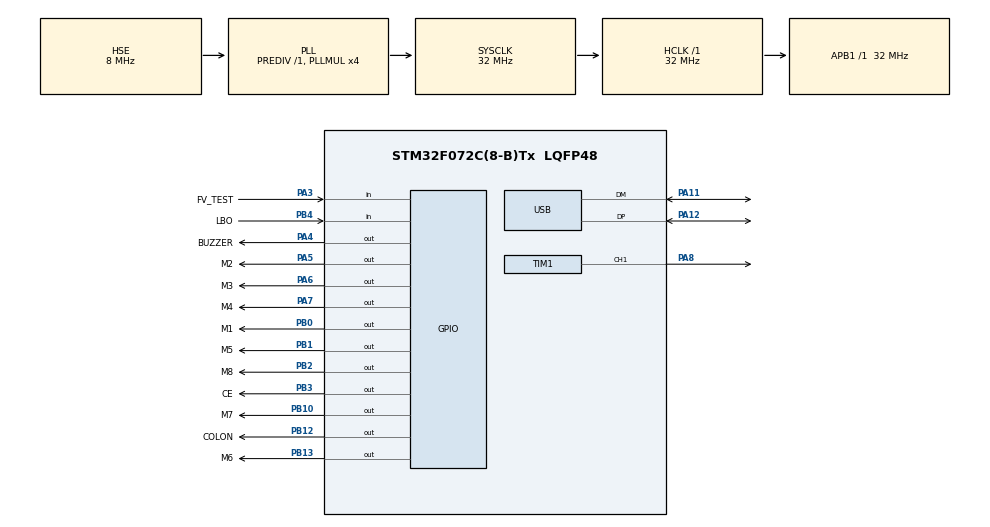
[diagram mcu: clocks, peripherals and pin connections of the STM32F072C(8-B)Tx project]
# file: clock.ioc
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Mcu.Family=STM32F0
Mcu.Name=STM32F072C(8-B)Tx
Mcu.Package=LQFP48
NVIC.RTC_IRQn=true\:0\:0\:false\:false\:true\:true\:true\:true
PA11.Mode=Device
PA11.Signal=USB_DM
PA12.Mode=Device
PA12.Signal=USB_DP
PA3.GPIO_Label=FV_TEST
PA3.Signal=GPIO_Input
PA4.GPIO_Label=BUZZER
PA4.Signal=GPIO_Output
PA5.GPIO_Label=M2
PA5.Signal=GPIO_Output
PA6.GPIO_Label=M3
PA6.Signal=GPIO_Output
PA7.GPIO_Label=M4
PA7.Signal=GPIO_Output
PA8.Signal=S_TIM1_CH1
PB0.GPIO_Label=M1
PB0.Signal=GPIO_Output
PB1.GPIO_Label=M5
PB1.Signal=GPIO_Output
PB10.GPIO_Label=M7
PB10.Signal=GPIO_Output
PB12.GPIO_Label=COLON
PB12.Signal=GPIO_Output
PB13.GPIO_Label=M6
PB13.Signal=GPIO_Output
PB2.GPIO_Label=M8
PB2.Signal=GPIO_Output
PB3.GPIO_Label=CE
PB3.Signal=GPIO_Output
PB4.GPIO_Label=LBO
PB4.Signal=GPIO_Input
PF0-OSC_IN.Mode=HSE-External-Oscillator
PF0-OSC_IN.Signal=RCC_OSC_IN
PF1-OSC_OUT.Mode=HSE-External-Oscillator
PF1-OSC_OUT.Signal=RCC_OSC_OUT
ProjectManager.HeapSize=0x200
ProjectManager.StackSize=0x400
ProjectManager.TargetToolchain=STM32CubeIDE
RCC.AHBFreq_Value=32000000
RCC.APB1Freq_Value=32000000
RCC.APB1TimFreq_Value=32000000
RCC.HCLKFreq_Value=32000000
RCC.PLLMUL=RCC_PLL_MUL4
RCC.PLLSourceVirtual=RCC_PLLSOURCE_HSE
RCC.RTCClockSelection=RCC_RTCCLKSOURCE_HSE_DIV32
RCC.SYSCLKFreq_VALUE=32000000
RCC.SYSCLKSource=RCC_SYSCLKSOURCE_PLLCLK
RCC.USBFreq_Value=48000000
RTC.Alarm-Alarm\ A=RTC_ALARM_A
RTC.AlarmDateWeekDaySel-Alarm\ A=RTC_ALARMDATEWEEKDAYSEL_WEEKDAY
RTC.Format=RTC_FORMAT_BIN
RTC.SynchPrediv=1952
SH.S_TIM1_CH1.0=TIM1_CH1,PWM Generation1 CH1
TIM1.Channel-PWM\ Generation1\ CH1=TIM_CHANNEL_1
TIM2.Prescaler=31
VP_RTC_VS_RTC_Activate.Mode=RTC_Enabled
VP_RTC_VS_RTC_Alarm_A_Intern.Mode=Alarm A
VP_RTC_VS_RTC_Calendar.Mode=RTC_Calendar
VP_TIM1_VS_ClockSourceINT.Mode=Internal
VP_TIM2_VS_ClockSourceINT.Mode=Internal
board=custom

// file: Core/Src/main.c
/* USER CODE BEGIN Header */
/**
  ******************************************************************************
  * @file           : main.c
  * @brief          : Main program body
  ******************************************************************************
  * @attention
  *
  * Copyright (c) 2025 STMicroelectronics.
  * All rights reserved.
  *
  * This software is licensed under terms that can be found in the LICENSE file
  * in the root directory of this software component.
  * If no LICENSE file comes with this software, it is provided AS-IS.
  *
  ******************************************************************************
  */
/* USER CODE END Header */
#include "main.h"

RTC_HandleTypeDef hrtc;

TIM_HandleTypeDef htim1;
TIM_HandleTypeDef htim2;

PCD_HandleTypeDef hpcd_USB_FS;

/* USER CODE BEGIN PV */

GPIO_TypeDef *pin_ports[] = {M1_GPIO_Port, M2_GPIO_Port, M3_GPIO_Port, M4_GPIO_Port, M5_GPIO_Port, M6_GPIO_Port, M7_GPIO_Port, M8_GPIO_Port};
const int pin_numbers[] = {0,5,6,7,1,13,10,2};
//int numbers[][8] = {
//		{0,1,2,3,4,5}, 		//0
//		{2,3},				//1
//		{1,2,4,5,6},		//2
//		{1,2,3,4,6},		//3
//		{0,2,3,6},			//4
//		{0,1,3,4,6},		//5
//		{0,1,3,4,5,6},		//6
//		{1,2,3},			//7
//		{0,1,2,3,4,5,6},	//8
//		{0,1,2,3,6}			//9
//};

const uint8_t numbers[10] = {
		0b01111110,
		0b00011000,
		0b00110111,
		0b00111101,
		0b01011001,
		0b01101101,
		0b01101111,
		0b00111000,
		0b01111111,
		0b01111001
};

const uint8_t time_out_val = 60; //seconds

enum menu_enum {
	TIME,
	SET_TIME,
	SLEEP,
	SET_ALARM,
	BUZZ
};

enum menu_enum menu = TIME;

int button_pressed = 0;
uint8_t time[4];

int selected_digit = 0;

RTC_TimeTypeDef currTime = {0};
RTC_DateTypeDef currDate = {0};

int time_out = 0;

/* USER CODE END PV */

void SystemClock_Config(void);
static void MX_GPIO_Init(void);
static void MX_USB_PCD_Init(void);
static void MX_RTC_Init(void);
static void MX_TIM2_Init(void);
static void MX_TIM1_Init(void);
/* USER CODE BEGIN PFP */

void set_mode(GPIO_TypeDef *gpio, int pin, uint32_t mode);
void set_level(GPIO_TypeDef *gpio, int pin, int level);
void update_buttons(void);
int change_digit(int digit, int change);
void disable_battery(void);
void check_time_out(void);

/* USER CODE END PFP */

/* USER CODE BEGIN 0 */

void set_LED(int digit, int row){
	int i;

	for(i = 0; i < 8; i++){
		if(i == digit){
			//set pin high
			continue;

//			set_mode(pin_ports[i], pin_numbers[i], 0b01);
//			set_level(pin_ports[i], pin_numbers[i], 1);

		} else if(digit <= row && row == (i-1)){

			//set pin low

			set_mode(pin_ports[i], pin_numbers[i], 0b01);
			set_level(pin_ports[i], pin_numbers[i], 0);

			//set_mode(pin_ports[i], pin_numbers[i], 0b00);

			//i += 1;

		} else if(digit > row && row == i){

			//set pin low

			set_mode(pin_ports[i], pin_numbers[i], 0b01);
			set_level(pin_ports[i], pin_numbers[i], 0);

		} else {
			//set pin high z
			set_mode(pin_ports[i], pin_numbers[i], 0b00);
		}
	}
}

void set_mode(GPIO_TypeDef *gpio, int pin, uint32_t mode){
	uint32_t reg;

	reg = gpio->MODER;
	//reg &= ~(mode << (pin * 2u));

	reg &= ~(0b11 << (pin * 2));
	reg |= (mode) << (pin * 2);

	gpio->MODER=reg;

}

void set_level(GPIO_TypeDef *gpio, int pin, int level){
	uint32_t reg;

	//gpio->ODR |= (level<<pin);

	reg = gpio->ODR;

	reg &= ~(1 << pin);
	reg |= (level << pin);

	gpio->ODR = reg;

}

int change_digit(int digit, int change){
	int new_digit = digit + change;

	if(new_digit > 9){
		return 0;
	} else if (new_digit < 0){
		return 9;
	} else {
		return new_digit;
	}

}
void update_buttons(void){

	if( // all pins down go into set time
			HAL_GPIO_ReadPin(SELECT_GPIO_Port, SELECT_Pin) == 0 &&
			HAL_GPIO_ReadPin(LEFT_GPIO_Port, LEFT_Pin) == 0 &&
			HAL_GPIO_ReadPin(RIGHT_GPIO_Port, RIGHT_Pin) == 0
	){

		// ensure time is up to date

		HAL_RTC_GetTime(&hrtc, &currTime, RTC_FORMAT_BIN);
		HAL_RTC_GetDate(&hrtc, &currDate, RTC_FORMAT_BIN);

		time[0] = currTime.Hours / 10;
		time[1] = currTime.Hours % 10;
		time[2] = currTime.Minutes / 10;
		time[3] = currTime.Minutes % 10;

		selected_digit = 0;
		menu = SET_TIME;
	} else if (HAL_GPIO_ReadPin(SELECT_GPIO_Port, SELECT_Pin) == 0) {

		time_out = 0;

		if( button_pressed == 0) {
			button_pressed = 1;

			if(menu == BUZZ){
				HAL_TIM_PWM_Stop(&htim1, TIM_CHANNEL_1);
				menu = TIME;
			} else if(menu == SLEEP){

				menu = TIME;

			} else if(menu == TIME){
				time[0] = 0;
				time[1] = 0;
				time[2] = 0;
				time[3] = 0;

				selected_digit = 0;

				menu = SET_ALARM;
			} else if (menu == SET_TIME){

				if(selected_digit < 3){
					selected_digit++;
				} else {

					currTime.Hours = (time[0] * 10) + time[1];
					currTime.Minutes = (time[2] * 10) + time [3];
					currTime.Seconds = 0;

					HAL_RTC_SetTime(&hrtc, &currTime, RTC_FORMAT_BIN);

					menu = TIME;

				}
			} else if (menu == SET_ALARM){

				if(selected_digit < 3){
					selected_digit++;
				} else {

					RTC_AlarmTypeDef sAlarm = {0};

					sAlarm.AlarmTime.Hours = (time[0] * 10) + time[1];
					sAlarm.AlarmTime.Minutes = (time[2] * 10) + time [3];
					sAlarm.AlarmTime.Seconds = 0x0;
					sAlarm.AlarmTime.SubSeconds = 0x0;
					sAlarm.AlarmTime.DayLightSaving = RTC_DAYLIGHTSAVING_NONE;
					sAlarm.AlarmTime.StoreOperation = RTC_STOREOPERATION_RESET;
					sAlarm.AlarmMask = RTC_ALARMMASK_NONE;
					sAlarm.AlarmSubSecondMask = RTC_ALARMSUBSECONDMASK_ALL;
					sAlarm.AlarmDateWeekDaySel = RTC_ALARMDATEWEEKDAYSEL_WEEKDAY;
					sAlarm.AlarmDateWeekDay = 1;
					sAlarm.Alarm = RTC_ALARM_A;
					if (HAL_RTC_SetAlarm_IT(&hrtc, &sAlarm, RTC_FORMAT_BIN) != HAL_OK)
					{
					Error_Handler();
					}

					menu = TIME;

				}

			} else if (menu == BUZZ){
				menu = TIME;
			}
		}

	} else if (HAL_GPIO_ReadPin(LEFT_GPIO_Port, LEFT_Pin) == 0){

		time_out = 0;

		if( button_pressed == 0) {
			button_pressed = 1;

			if(menu == BUZZ){
				HAL_TIM_PWM_Stop(&htim1, TIM_CHANNEL_1);
				menu = TIME;
			} else if(menu == SLEEP){
				menu = TIME;
			} else if(menu == SET_ALARM || menu == SET_TIME){

				time[selected_digit] = change_digit(time[selected_digit], -1);

			}

		}

	} else if (HAL_GPIO_ReadPin(RIGHT_GPIO_Port, RIGHT_Pin) == 0){

		time_out = 0;

		if( button_pressed == 0) {
			button_pressed = 1;

			if(menu == BUZZ){
				HAL_TIM_PWM_Stop(&htim1, TIM_CHANNEL_1);
				menu = TIME;
			} else if(menu == SLEEP){
				menu = TIME;
			} else if(menu == SET_ALARM || menu == SET_TIME){

				time[selected_digit] = change_digit(time[selected_digit], 1);

			}

		}

	} else {

		button_pressed = 0;

	}
}

//void HAL_RTC_AlarmAEventCallback(RTC_HandleTypeDef *hrtc){
//	HAL_TIM_PWM_Start(&htim1, TIM_CHANNEL_1);
//}

void delay_us (uint32_t us)
{
	__HAL_TIM_SET_COUNTER(&htim2, 0);
	while (__HAL_TIM_GET_COUNTER(&htim2) < us);
}

void HAL_RTC_AlarmAEventCallback(RTC_HandleTypeDef *hrtc) {
	//HAL_TIM_PWM_Start(&htim1, TIM_CHANNEL_1);
	menu = BUZZ;
	time_out = 0;
}

void disable_battery(void){

	if(HAL_GPIO_ReadPin(FV_TEST_GPIO_Port, FV_TEST_Pin) == 1) {

		//  plugged into 5V, want to cancel charge -> disable charge
		// turn CE on

		HAL_GPIO_WritePin(CE_GPIO_Port, CE_Pin, 1);

//		//Stat 1 is low when LBO meaning that LBO pin is low.
//
//		if(HAL_GPIO_ReadPin(LBO_GPIO_Port, LBO_Pin) == 0){

	} else {

		// turn off CE, enabling charging

		HAL_GPIO_WritePin(CE_GPIO_Port, CE_Pin, 0);
	}

}

void check_time_out(void){
	time_out++;

	if(time_out >= time_out_val){
		menu = SLEEP;
		HAL_GPIO_WritePin(COLON_GPIO_Port, COLON_Pin, 0);
	}
}

/* USER CODE END 0 */

int main(void)
{

  /* MCU Configuration--------------------------------------------------------*/

  /* Reset of all peripherals, Initializes the Flash interface and the Systick. */
  HAL_Init();

  /* Configure the system clock */
  SystemClock_Config();

  /* Initialize all configured peripherals */
  MX_GPIO_Init();
  MX_USB_PCD_Init();
  MX_RTC_Init();
  MX_TIM2_Init();
  MX_TIM1_Init();
  /* USER CODE BEGIN 2 */

  //HAL_GPIO_WritePin(GPIOB, COLON_Pin, 1);

  //HAL_GPIO_WritePin(GPIOB, M5_Pin, 1);

  //HAL_GPIO_WritePin(GPIOB, M1_Pin, 0);

//  set_mode(M5_GPIO_Port, 1, 0b10);
//  set_level(M5_GPIO_Port, 1, 1);

//  reg = M2_GPIO_Port->PUPDR;
//  reg &= ~(GPIO_PUPDR_PUPDR0 << (position * 2u));
//  reg |= ((GPIO_Init->Pull) << (position * 2u));

//  set_mode(M2_GPIO_Port, 5, 0b11);
//  set_mode(M3_GPIO_Port, 6, 0b11);
//  set_mode(M4_GPIO_Port, 7, 0b11);
//  set_mode(M6_GPIO_Port, 13, 0b11);
//  set_mode(M7_GPIO_Port, 10, 0b11);
//  set_mode(M8_GPIO_Port, 2, 0b11);

  //set_LED(4, 2);

  //HAL_TIM_PWM_Start(&htim1, TIM_CHANNEL_1);
  //HAL_TIM_PWM_Start(&htim1, TIM_CHANNEL_1);

  //HAL_GPIO_WritePin(BUZZER_GPIO_Port, BUZZER_Pin, 1);

  /* USER CODE END 2 */

  /* Infinite loop */
  /* USER CODE BEGIN WHILE */

//  int digit = 0;
//  int row = 0;

  int i;
  int k;
//  uint32_t tick; // us
  uint32_t elapsed_time;
  int colon = 0;

  uint32_t CLOCK_PERIOD = 10000;

  HAL_TIM_Base_Start(&htim2);

  while (1)
  {
    /* USER CODE END WHILE */

    /* USER CODE BEGIN 3 */

	  //tick = HAL_GetTick();

	  __HAL_TIM_SET_COUNTER(&htim2, 0); // reset clock

	  update_buttons();

	  disable_battery();

	  HAL_RTC_GetTime(&hrtc, &currTime, RTC_FORMAT_BIN);
	  HAL_RTC_GetDate(&hrtc, &currDate, RTC_FORMAT_BIN);

	  if(menu == TIME || menu == BUZZ){

		  time[0] = currTime.Hours / 10;
		  time[1] = currTime.Hours % 10;
		  time[2] = currTime.Minutes / 10;
		  time[3] = currTime.Minutes % 10;

		  // COLON on if even seconds or battery is low
		  if ((currTime.Seconds%10) & 1){
			  if(colon == 0) {
				  HAL_GPIO_WritePin(COLON_GPIO_Port, COLON_Pin, 1);
				  colon = 1;

				  if(menu == BUZZ){
					  HAL_TIM_PWM_Start(&htim1, TIM_CHANNEL_1);
				  } else {
					  check_time_out();
				  }
			  }
		  } else {
			  if (colon == 1) {

				  // if battery is low dont turn off the COLON

				  //if(HAL_GPIO_ReadPin(LBO_GPIO_Port, LBO_Pin) == 0){
				  HAL_GPIO_WritePin(COLON_GPIO_Port, COLON_Pin, 0);
				  //}

				  colon = 0;

				  if(menu == BUZZ){
					  HAL_TIM_PWM_Stop(&htim1, TIM_CHANNEL_1);
				  } else {
					  check_time_out();
				  }
			  }
		  }
	  }

//	  set_LED(digit, row);
//
//	  HAL_Delay(500);
//
//	  row += 1;
//
//
//	  if (row > 6){
//		  row = 0;
//
//		  digit +=1;
//
//		  if (digit > 4){
//			  digit = 0;
//		  }
//	  }

	  if(menu != SLEEP){
		  for(i = 0; i < 4; i++){ // for each digit

		  		  if ((menu == SET_TIME || menu == SET_ALARM) && i == selected_digit && (currTime.Seconds%10) & 1){
		  			  continue;
		  		  }

		  		  // turn on the digit pin

		  		  set_mode(pin_ports[i], pin_numbers[i], 0b01);
		  		  set_level(pin_ports[i], pin_numbers[i], 1);

		  		  // turn on the needed lights

		  		  for(k = 0; k < 7; k++){
		  			  if(numbers[time[i]] & (1 << (6-k))){

		  				  set_LED(i, k);
		  				  delay_us(300);

		  				  //HAL_Delay(0.1);

		  			  }
		  		  }

		  		  //turn off the digit pin

		  		  set_level(pin_ports[i], pin_numbers[i], 0);
		  	  }

		  	  // turns last light off
		  	  set_level(pin_ports[3], pin_numbers[3], 0);
	  }

	  // Target 100 Hz => 10 ms cycle
	  // 28 LED's with 1/2 of cycle dedicated to LED's that is 0.2 ms

	  elapsed_time = __HAL_TIM_GET_COUNTER(&htim2); // time in microseconds elapsed

	  float remaining_time = CLOCK_PERIOD - elapsed_time;

	  if (remaining_time > 0){
		  //HAL_GPIO_WritePin(COLON_GPIO_Port, COLON_Pin, 1);
//		  HAL_Delay((uint32_t)remaining_time);
		  delay_us(remaining_time);
	  } else {
		  //HAL_GPIO_WritePin(COLON_GPIO_Port, COLON_Pin, 0);
	  }

//	  time++;
//
//	  if(time == 10){
//		  time = 0;
//	  }

  }
  /* USER CODE END 3 */
}

void SystemClock_Config(void)
{
  RCC_OscInitTypeDef RCC_OscInitStruct = {0};
  RCC_ClkInitTypeDef RCC_ClkInitStruct = {0};
  RCC_PeriphCLKInitTypeDef PeriphClkInit = {0};

  /** Initializes the RCC Oscillators according to the specified parameters
  * in the RCC_OscInitTypeDef structure.
  */
  RCC_OscInitStruct.OscillatorType = RCC_OSCILLATORTYPE_HSI48|RCC_OSCILLATORTYPE_HSE;
  RCC_OscInitStruct.HSEState = RCC_HSE_ON;
  RCC_OscInitStruct.HSI48State = RCC_HSI48_ON;
  RCC_OscInitStruct.PLL.PLLState = RCC_PLL_ON;
  RCC_OscInitStruct.PLL.PLLSource = RCC_PLLSOURCE_HSE;
  RCC_OscInitStruct.PLL.PLLMUL = RCC_PLL_MUL4;
  RCC_OscInitStruct.PLL.PREDIV = RCC_PREDIV_DIV1;
  if (HAL_RCC_OscConfig(&RCC_OscInitStruct) != HAL_OK)
  {
    Error_Handler();
  }

  /** Initializes the CPU, AHB and APB buses clocks
  */
  RCC_ClkInitStruct.ClockType = RCC_CLOCKTYPE_HCLK|RCC_CLOCKTYPE_SYSCLK
                              |RCC_CLOCKTYPE_PCLK1;
  RCC_ClkInitStruct.SYSCLKSource = RCC_SYSCLKSOURCE_PLLCLK;
  RCC_ClkInitStruct.AHBCLKDivider = RCC_SYSCLK_DIV1;
  RCC_ClkInitStruct.APB1CLKDivider = RCC_HCLK_DIV1;

  if (HAL_RCC_ClockConfig(&RCC_ClkInitStruct, FLASH_LATENCY_1) != HAL_OK)
  {
    Error_Handler();
  }
  PeriphClkInit.PeriphClockSelection = RCC_PERIPHCLK_USB|RCC_PERIPHCLK_RTC;
  PeriphClkInit.RTCClockSelection = RCC_RTCCLKSOURCE_HSE_DIV32;
  PeriphClkInit.UsbClockSelection = RCC_USBCLKSOURCE_HSI48;

  if (HAL_RCCEx_PeriphCLKConfig(&PeriphClkInit) != HAL_OK)
  {
    Error_Handler();
  }
}

static void MX_RTC_Init(void)
{

  RTC_TimeTypeDef sTime = {0};
  RTC_DateTypeDef sDate = {0};
  RTC_AlarmTypeDef sAlarm = {0};

  /** Initialize RTC Only
  */
  hrtc.Instance = RTC;
  hrtc.Init.HourFormat = RTC_HOURFORMAT_24;
  hrtc.Init.AsynchPrediv = 127;
  hrtc.Init.SynchPrediv = 1952;
  hrtc.Init.OutPut = RTC_OUTPUT_DISABLE;
  hrtc.Init.OutPutPolarity = RTC_OUTPUT_POLARITY_HIGH;
  hrtc.Init.OutPutType = RTC_OUTPUT_TYPE_OPENDRAIN;
  if (HAL_RTC_Init(&hrtc) != HAL_OK)
  {
    Error_Handler();
  }

  /** Initialize RTC and set the Time and Date
  */
  sTime.Hours = 0;
  sTime.Minutes = 0;
  sTime.Seconds = 0;
  sTime.DayLightSaving = RTC_DAYLIGHTSAVING_NONE;
  sTime.StoreOperation = RTC_STOREOPERATION_RESET;
  if (HAL_RTC_SetTime(&hrtc, &sTime, RTC_FORMAT_BIN) != HAL_OK)
  {
    Error_Handler();
  }
  sDate.WeekDay = RTC_WEEKDAY_MONDAY;
  sDate.Month = RTC_MONTH_JANUARY;
  sDate.Date = 1;
  sDate.Year = 0;

  if (HAL_RTC_SetDate(&hrtc, &sDate, RTC_FORMAT_BIN) != HAL_OK)
  {
    Error_Handler();
  }

  /** Enable the Alarm A
  */
  sAlarm.AlarmTime.Hours = 0;
  sAlarm.AlarmTime.Minutes = 0;
  sAlarm.AlarmTime.Seconds = 0;
  sAlarm.AlarmTime.SubSeconds = 0;
  sAlarm.AlarmTime.DayLightSaving = RTC_DAYLIGHTSAVING_NONE;
  sAlarm.AlarmTime.StoreOperation = RTC_STOREOPERATION_RESET;
  sAlarm.AlarmMask = RTC_ALARMMASK_NONE;
  sAlarm.AlarmSubSecondMask = RTC_ALARMSUBSECONDMASK_ALL;
  sAlarm.AlarmDateWeekDaySel = RTC_ALARMDATEWEEKDAYSEL_WEEKDAY;
  sAlarm.AlarmDateWeekDay = 1;
  sAlarm.Alarm = RTC_ALARM_A;
  if (HAL_RTC_SetAlarm_IT(&hrtc, &sAlarm, RTC_FORMAT_BIN) != HAL_OK)
  {
    Error_Handler();
  }

}

static void MX_TIM1_Init(void)
{

  TIM_ClockConfigTypeDef sClockSourceConfig = {0};
  TIM_MasterConfigTypeDef sMasterConfig = {0};
  TIM_OC_InitTypeDef sConfigOC = {0};
  TIM_BreakDeadTimeConfigTypeDef sBreakDeadTimeConfig = {0};

  htim1.Instance = TIM1;
  htim1.Init.Prescaler = 0;
  htim1.Init.CounterMode = TIM_COUNTERMODE_UP;
  htim1.Init.Period = 65535;
  htim1.Init.ClockDivision = TIM_CLOCKDIVISION_DIV1;
  htim1.Init.RepetitionCounter = 0;
  htim1.Init.AutoReloadPreload = TIM_AUTORELOAD_PRELOAD_DISABLE;
  if (HAL_TIM_Base_Init(&htim1) != HAL_OK)
  {
    Error_Handler();
  }
  sClockSourceConfig.ClockSource = TIM_CLOCKSOURCE_INTERNAL;
  if (HAL_TIM_ConfigClockSource(&htim1, &sClockSourceConfig) != HAL_OK)
  {
    Error_Handler();
  }
  if (HAL_TIM_PWM_Init(&htim1) != HAL_OK)
  {
    Error_Handler();
  }
  sMasterConfig.MasterOutputTrigger = TIM_TRGO_RESET;
  sMasterConfig.MasterSlaveMode = TIM_MASTERSLAVEMODE_DISABLE;
  if (HAL_TIMEx_MasterConfigSynchronization(&htim1, &sMasterConfig) != HAL_OK)
  {
    Error_Handler();
  }
  sConfigOC.OCMode = TIM_OCMODE_PWM1;
  sConfigOC.Pulse = 0;
  sConfigOC.OCPolarity = TIM_OCPOLARITY_HIGH;
  sConfigOC.OCNPolarity = TIM_OCNPOLARITY_HIGH;
  sConfigOC.OCFastMode = TIM_OCFAST_DISABLE;
  sConfigOC.OCIdleState = TIM_OCIDLESTATE_RESET;
  sConfigOC.OCNIdleState = TIM_OCNIDLESTATE_RESET;
  if (HAL_TIM_PWM_ConfigChannel(&htim1, &sConfigOC, TIM_CHANNEL_1) != HAL_OK)
  {
    Error_Handler();
  }
  sBreakDeadTimeConfig.OffStateRunMode = TIM_OSSR_DISABLE;
  sBreakDeadTimeConfig.OffStateIDLEMode = TIM_OSSI_DISABLE;
  sBreakDeadTimeConfig.LockLevel = TIM_LOCKLEVEL_OFF;
  sBreakDeadTimeConfig.DeadTime = 0;
  sBreakDeadTimeConfig.BreakState = TIM_BREAK_DISABLE;
  sBreakDeadTimeConfig.BreakPolarity = TIM_BREAKPOLARITY_HIGH;
  sBreakDeadTimeConfig.AutomaticOutput = TIM_AUTOMATICOUTPUT_DISABLE;
  if (HAL_TIMEx_ConfigBreakDeadTime(&htim1, &sBreakDeadTimeConfig) != HAL_OK)
  {
    Error_Handler();
  }
  HAL_TIM_MspPostInit(&htim1);

}

static void MX_TIM2_Init(void)
{

  TIM_ClockConfigTypeDef sClockSourceConfig = {0};
  TIM_MasterConfigTypeDef sMasterConfig = {0};

  htim2.Instance = TIM2;
  htim2.Init.Prescaler = 31;
  htim2.Init.CounterMode = TIM_COUNTERMODE_UP;
  htim2.Init.Period = 4294967295;
  htim2.Init.ClockDivision = TIM_CLOCKDIVISION_DIV1;
  htim2.Init.AutoReloadPreload = TIM_AUTORELOAD_PRELOAD_DISABLE;
  if (HAL_TIM_Base_Init(&htim2) != HAL_OK)
  {
    Error_Handler();
  }
  sClockSourceConfig.ClockSource = TIM_CLOCKSOURCE_INTERNAL;
  if (HAL_TIM_ConfigClockSource(&htim2, &sClockSourceConfig) != HAL_OK)
  {
    Error_Handler();
  }
  sMasterConfig.MasterOutputTrigger = TIM_TRGO_RESET;
  sMasterConfig.MasterSlaveMode = TIM_MASTERSLAVEMODE_DISABLE;
  if (HAL_TIMEx_MasterConfigSynchronization(&htim2, &sMasterConfig) != HAL_OK)
  {
    Error_Handler();
  }

}

static void MX_USB_PCD_Init(void)
{

  hpcd_USB_FS.Instance = USB;
  hpcd_USB_FS.Init.dev_endpoints = 8;
  hpcd_USB_FS.Init.speed = PCD_SPEED_FULL;
  hpcd_USB_FS.Init.phy_itface = PCD_PHY_EMBEDDED;
  hpcd_USB_FS.Init.low_power_enable = DISABLE;
  hpcd_USB_FS.Init.lpm_enable = DISABLE;
  hpcd_USB_FS.Init.battery_charging_enable = DISABLE;
  if (HAL_PCD_Init(&hpcd_USB_FS) != HAL_OK)
  {
    Error_Handler();
  }

}

static void MX_GPIO_Init(void)
{
  GPIO_InitTypeDef GPIO_InitStruct = {0};

  /* GPIO Ports Clock Enable */
  __HAL_RCC_GPIOF_CLK_ENABLE();
  __HAL_RCC_GPIOA_CLK_ENABLE();
  __HAL_RCC_GPIOB_CLK_ENABLE();

  /*Configure GPIO pin Output Level */
  HAL_GPIO_WritePin(GPIOA, BUZZER_Pin|M2_Pin|M3_Pin|M4_Pin, GPIO_PIN_RESET);

  /*Configure GPIO pin Output Level */
  HAL_GPIO_WritePin(GPIOB, M1_Pin|M5_Pin|M8_Pin|M7_Pin
                          |COLON_Pin|M6_Pin|CE_Pin, GPIO_PIN_RESET);

  /*Configure GPIO pin : FV_TEST_Pin */
  GPIO_InitStruct.Pin = FV_TEST_Pin;
  GPIO_InitStruct.Mode = GPIO_MODE_INPUT;
  GPIO_InitStruct.Pull = GPIO_NOPULL;
  HAL_GPIO_Init(FV_TEST_GPIO_Port, &GPIO_InitStruct);

  /*Configure GPIO pins : BUZZER_Pin M2_Pin M3_Pin M4_Pin */
  GPIO_InitStruct.Pin = BUZZER_Pin|M2_Pin|M3_Pin|M4_Pin;
  GPIO_InitStruct.Mode = GPIO_MODE_OUTPUT_PP;
  GPIO_InitStruct.Pull = GPIO_NOPULL;
  GPIO_InitStruct.Speed = GPIO_SPEED_FREQ_LOW;
  HAL_GPIO_Init(GPIOA, &GPIO_InitStruct);

  /*Configure GPIO pins : M1_Pin M5_Pin M8_Pin M7_Pin
                           COLON_Pin M6_Pin CE_Pin */
  GPIO_InitStruct.Pin = M1_Pin|M5_Pin|M8_Pin|M7_Pin
                          |COLON_Pin|M6_Pin|CE_Pin;
  GPIO_InitStruct.Mode = GPIO_MODE_OUTPUT_PP;
  GPIO_InitStruct.Pull = GPIO_NOPULL;
  GPIO_InitStruct.Speed = GPIO_SPEED_FREQ_LOW;
  HAL_GPIO_Init(GPIOB, &GPIO_InitStruct);

  /*Configure GPIO pin : LBO_Pin */
  GPIO_InitStruct.Pin = LBO_Pin;
  GPIO_InitStruct.Mode = GPIO_MODE_INPUT;
  GPIO_InitStruct.Pull = GPIO_NOPULL;
  HAL_GPIO_Init(LBO_GPIO_Port, &GPIO_InitStruct);

/* USER CODE BEGIN MX_GPIO_Init_2 */

  GPIO_InitStruct.Pin = RIGHT_Pin|SELECT_Pin|LEFT_Pin;
  GPIO_InitStruct.Mode = GPIO_MODE_INPUT;
  GPIO_InitStruct.Pull = GPIO_PULLUP;
  HAL_GPIO_Init(GPIOA, &GPIO_InitStruct);

//  GPIO_InitStruct.Pin = BUZZER_Pin;
//  GPIO_InitStruct.Mode = GPIO_MODE_OUTPUT_PP;
//  GPIO_InitStruct.Pull = GPIO_PULLDOWN;
//  GPIO_InitStruct.Speed = GPIO_SPEED_FREQ_LOW;
//  HAL_GPIO_Init(GPIOA, &GPIO_InitStruct);

/* USER CODE END MX_GPIO_Init_2 */
}

void Error_Handler(void)
{
  __disable_irq();
  while (1)
  {
  }
}
